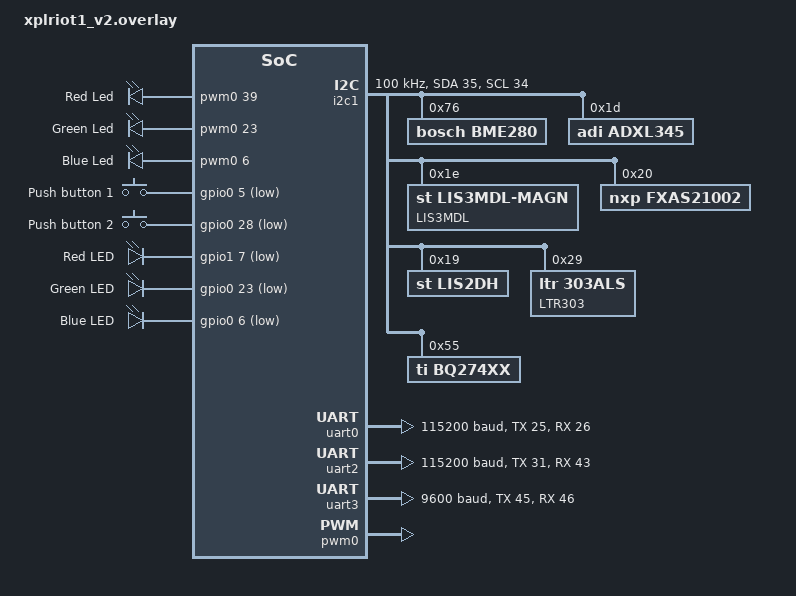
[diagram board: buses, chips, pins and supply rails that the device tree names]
/*
	Ovelay file for the U-blox XPLR-IOT-1 board
	based on the Nordic nrf53dk board
*/


// I2C and the board sensors
&i2c1 {
	compatible = "nordic,nrf-twim";
	status = "okay";
	sda-pin = < 35 >;
	scl-pin = < 34 >;
  clock-frequency = <I2C_BITRATE_STANDARD>;

	bme280@76 {
		compatible = "bosch,bme280";
		reg = <0x76>;
		label = "BME280";
	};

	adxl345@1d {
		compatible = "adi,adxl345";
		reg = <0x1d>;
		label = "ADXL345";
	};

	lis3mdl@1e {
		compatible = "st,lis3mdl-magn";
		reg = <0x1e>;
		label = "LIS3MDL";
	};

	fxas21002@20 {
		compatible = "nxp,fxas21002";
		reg = <0x20>;
		label = "FXAS21002";
	};

	lis2dh@19 {
		compatible = "st,lis2dh";
		reg = <0x19>;
		label = "LIS2DH";
	};

	ltr303: ltr303@29 {
		compatible = "ltr,303als";
		reg = <0x29>;
		label = "LTR303";
	};

	bq27421@55 {
		compatible = "ti,bq274xx";
		label = "BQ274XX";
		reg = <0x55>;
		design-voltage = <3700>;
		design-capacity = <1200>;
		taper-current = <45>;
		terminate-voltage = <3000>;
	};
};

// Console uart
&uart0 {
	status = "okay";
	current-speed = <115200>;
	tx-pin = <25>;
	rx-pin = <26>;
	rts-pin = <27>;
	cts-pin = <24>;
};

// SARA-R5 uart. Only available when i2c is not used
&uart1 {
	status = "disabled";
	current-speed = <115200>;
	tx-pin = <36>;
	rx-pin = <40>;
	cts-pin = <38>;
	rts-pin = <19>;
	hw-flow-control;
};

// Nina W15 uart, shared with Sara-R5 when i2c is used
&uart2 {
	status = "okay";
	current-speed = <115200>;
	tx-pin = <31>;
	rx-pin = <43>;
	cts-pin = <30>;
	rts-pin = <20>;
	hw-flow-control;
};

// MaxM10S uart
&uart3 {
	status = "okay";
	current-speed = <9600>;
	tx-pin = <45>;
	rx-pin = <46>;
};

// Buttons
&button0 {
	gpios = <&gpio0 5 (GPIO_PULL_UP | GPIO_ACTIVE_LOW)>;
	label = "Push button 1";
};

&button1 {
	gpios = <&gpio0 28 (GPIO_PULL_UP | GPIO_ACTIVE_LOW)>;
	label = "Push button 2";
};

// PWM for Led control brightness
&pwm0 {
	status = "okay";
	ch0-pin = <39>;
	ch1-pin = <23>;
	ch2-pin = <6>;
};

&led0 {
	gpios = <&gpio1 7 GPIO_ACTIVE_LOW>;
	label = "Red LED";
};

&led1 {
	gpios = <&gpio0 23 GPIO_ACTIVE_LOW>;
	label = "Green LED";
};

&led2 {
	gpios = <&gpio0 6 GPIO_ACTIVE_LOW>;
	label = "Blue LED";
};

// Leds at PWM channels
/{
	pwmleds {
		compatible = "pwm-leds";

		pwm_led0: pwm_led_0 {
			pwms = <&pwm0 39>;
			label = "Red Led";
		};

		pwm_led1: pwm_led_1 {
			pwms = <&pwm0 23>;
			label = "Green Led";
		};

		pwm_led2: pwm_led_2 {
			pwms = <&pwm0 6>;
			label = "Blue Led";
		};

	};

};
